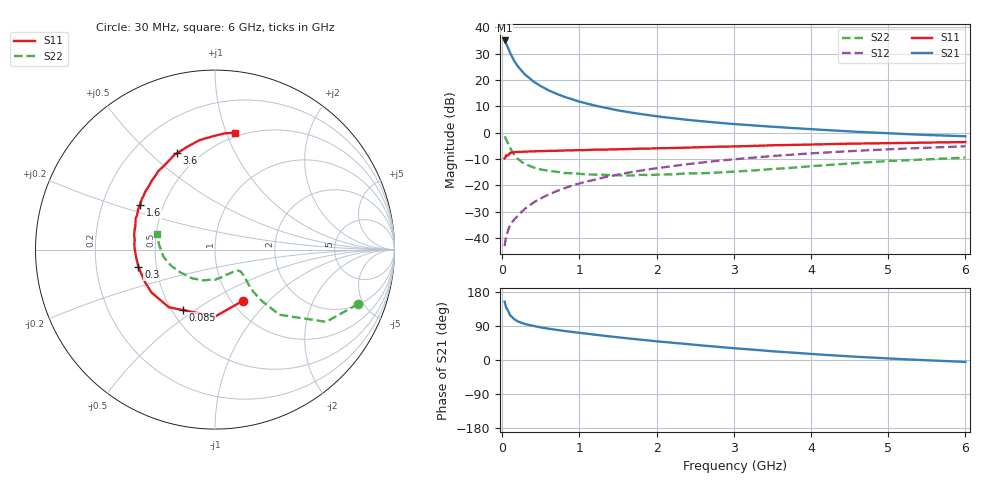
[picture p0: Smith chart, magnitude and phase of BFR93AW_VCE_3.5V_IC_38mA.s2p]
! Infineon Technologies  Discrete & RF Semiconductors
! BFR93AW
! VCE =  3.5 V,  IC =  38 mA
! Common Emitter S-Parameters:  Nov 2015
# GHz  S  MA  R  50
!  f  S11  S21  S12  S22
! GHz  MAG  ANG  MAG  ANG  MAG  ANG  MAG  ANG
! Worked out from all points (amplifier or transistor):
!   206 points, 30 MHz to 6 GHz, reference 50 ohm
!   highest |S21| = 35.0 dB at 30 MHz (marker M1)
!   |S21| within 3 dB of that: start of sweep to 76.43 MHz
!   unconditionally stable (mu >= 1): 394 MHz to 2.177 GHz
!   at 200 MHz: K = 0.87, MSG = 28.4 dB, |S12| = -31.6 dB
!   at 1.56 GHz: K = 1.04, MAG = 10.7 dB, |S12| = -15.6 dB
!   at 6 GHz: K = 0.92, MSG = 1.9 dB, |S12| = -5.2 dB
!   S11 on the Smith chart (normalised r, x): 30 MHz: 1.13, -0.72; 85 MHz: 0.57, -0.45; 300 MHz: 0.40, -0.10; 1.6 GHz: 0.37, +0.24; 3.6 GHz: 0.38, +0.61; 6 GHz: 0.46, +1.08
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0.03  0.3247 -61.1  55.99 154.1  0.007 72.1  0.8531 -20.8
0.05  0.373 -89.9  48.83 138.2  0.0108 67.7  0.7388 -33.0
0.085  0.3817 -118.1  36.92 125.9  0.0153 64.1  0.5759 -40.6
0.1  0.4114 -128.7  32.6 118.0  0.0173 63.2  0.5105 -45.3
0.15  0.4272 -146.0  23.42 108.0  0.022 64.7  0.386 -47.7
0.2  0.4303 -155.4  18.17 101.9  0.0264 67.2  0.3198 -47.7
0.24  0.4312 -161.1  15.41 98.7  0.0303 68.8  0.2852 -46.7
0.26  0.433 -163.4  14.26 97.1  0.0323 69.4  0.2717 -46.2
0.3  0.4379 -167.1  12.39 94.5  0.0365 70.6  0.252 -45.1
0.4  0.441 -174.2  9.38 89.7  0.0466 72.6  0.2186 -42.2
0.5  0.4464 -179.4  7.572 85.8  0.0565 73.5  0.1989 -41.2
0.6  0.4498 176.9  6.335 82.5  0.0669 74.1  0.1882 -40.6
0.8  0.4587 169.6  4.794 76.7  0.0873 73.9  0.1712 -43.0
1.04  0.4643 162.7  3.732 70.6  0.1125 72.8  0.1635 -47.4
1.3  0.4746 156.4  3.022 64.4  0.1394 71.0  0.159 -53.4
1.6  0.485 149.4  2.492 57.6  0.1703 68.6  0.1532 -63.4
2.02  0.5051 140.5  2.024 49.0  0.213 65.0  0.16 -79.1
3.1  0.5505 119.8  1.419 29.6  0.3206 54.4  0.1852 -114.1
3.6  0.5774 111.4  1.263 21.7  0.368 49.1  0.2077 -132.3
4.1  0.5975 103.5  1.137 14.6  0.4118 43.6  0.2354 -149.4
5.1  0.6335 90.4  0.957 2.9  0.4891 32.7  0.2925 -174.7
6  0.6614 80.1  0.852 -5.1  0.5505 23.5  0.3358 165.0
